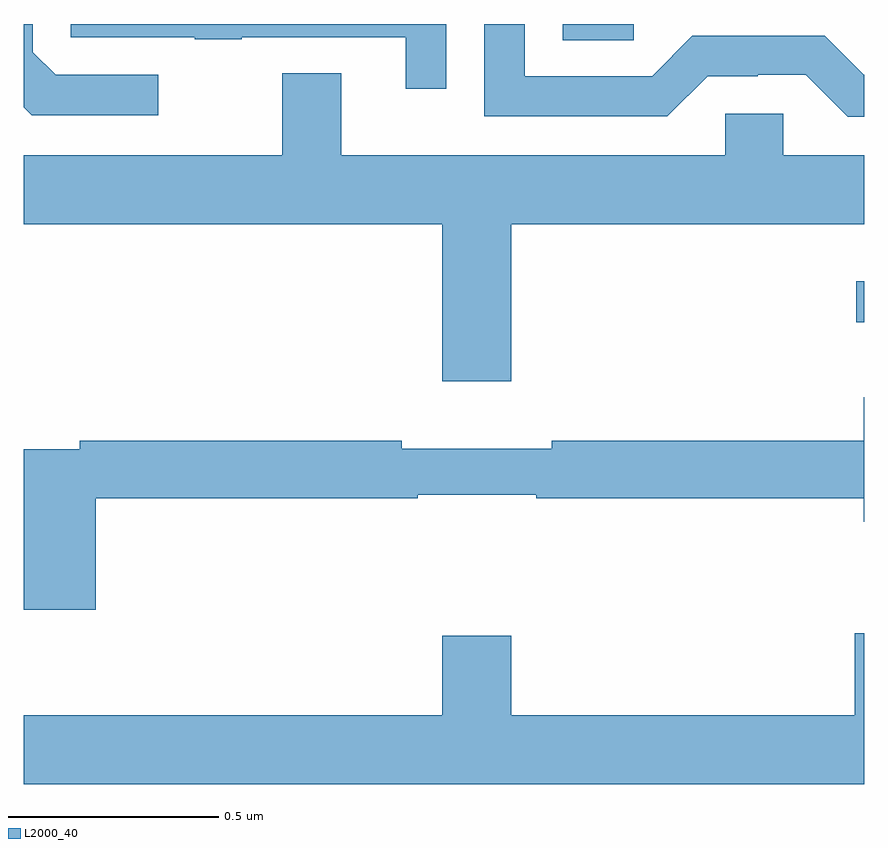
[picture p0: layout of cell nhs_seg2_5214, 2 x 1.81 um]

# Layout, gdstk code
import gdstk
lib = gdstk.Library(unit=1e-6, precision=1e-09)
def R(c, l, rs):  # rectangles x0, y0, x1, y1
    for r in rs: c.add(gdstk.rectangle(r[:2], r[2:], *l))
def P(c, l, *ps):  # polygons
    for p in ps: c.add(gdstk.Polygon(p, *l))
L2000_40 = (2000, 40)

nhs_seg2_5214 = lib.new_cell('nhs_seg2_5214')
R(nhs_seg2_5214, L2000_40, [(177.981,626.091,178,626.188), (177.282,626.761,177.451,626.8)])
P(nhs_seg2_5214, L2000_40, [(176.32,626.679),(176.076,626.679),(176.022,626.733),(176.022,626.8),(176,626.8),(176,626.602),(176.019,626.583),(176.32,626.583)],
  [(177.005,626.8),(176.112,626.8),(176.112,626.769),(176.407,626.769),(176.407,626.764),(176.519,626.764),(176.519,626.769),(176.909,626.769),(176.909,626.646),(177.005,626.646)],
  [(178,626.679),(177.999,626.679),(177.906,626.772),(177.591,626.772),(177.495,626.676),(177.192,626.676),(177.192,626.8),(177.096,626.8),(177.096,626.58),(177.531,626.58),(177.627,626.676),(177.746,626.676),(177.746,626.679),(177.861,626.679),(177.961,626.579),(178,626.579)],
  [(177.16,626.324),(178,626.324),(178,626.488),(177.807,626.488),(177.807,626.586),(177.669,626.586),(177.669,626.488),(176.755,626.488),(176.755,626.683),(176.615,626.683),(176.615,626.488),(176,626.488),(176,626.324),(176.996,626.324),(176.996,625.95),(177.16,625.95)],
  [(176.171,625.672),(176.937,625.672),(176.937,625.68),(177.219,625.68),(177.219,625.672),(177.998,625.672),(177.998,625.616),(178,625.616),(178,625.912),(177.998,625.912),(177.998,625.808),(177.256,625.808),(177.256,625.789),(176.9,625.789),(176.9,625.808),(176.134,625.808),(176.134,625.788),(176,625.788),(176,625.407),(176.171,625.407)],
  [(178,625.351),(177.977,625.351),(177.977,625.156),(177.16,625.156),(177.16,625.345),(176.996,625.345),(176.996,625.156),(176,625.156),(176,624.992),(178,624.992)])

lib.write_gds('nhs_seg2_5214.gds')
